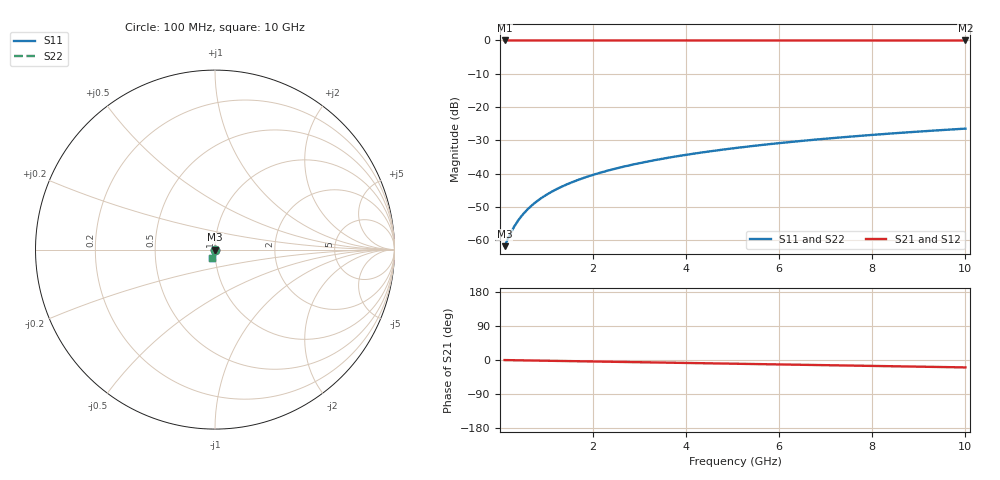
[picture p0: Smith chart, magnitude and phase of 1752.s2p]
# Hz S RI R 50.00
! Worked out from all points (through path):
!   100 points, 100 MHz to 10 GHz, reference 50 ohm
!   highest |S21| = -0.01 dB at 100 MHz (marker M1); lowest = 0.0 dB at 10 GHz (marker M2)
!   group delay of S21, straight-line fit = 5.43 ps
!   lowest |S11| = -61.8 dB at 100 MHz (marker M3), VSWR 1.00, Z = 50.1 - j0.048 ohm
!   |S11| at or under -10 dB: start of sweep to end of sweep
!   |S22| runs from -61.8 to -26.5 dB; largest |S21 - S12| = 0
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1e8  0.000659 -0.00048  0.9993 -0.00338  0.9993 -0.00338  0.000659 -0.00048
2e8  0.000657 -0.000959  0.9993 -0.00677  0.9993 -0.00677  0.000657 -0.000959
3e8  0.00065 -0.00144  0.9993 -0.0102  0.9993 -0.0102  0.00065 -0.00144
4e8  0.00064 -0.00192  0.9992 -0.0135  0.9992 -0.0135  0.00064 -0.00192
5e8  0.000626 -0.0024  0.9992 -0.0169  0.9992 -0.0169  0.000626 -0.0024
6e8  0.000608 -0.00288  0.9991 -0.0203  0.9991 -0.0203  0.000608 -0.00288
7e8  0.000587 -0.00336  0.999 -0.0237  0.999 -0.0237  0.000587 -0.00336
9e8  0.000535 -0.00432  0.9988 -0.0305  0.9988 -0.0305  0.000535 -0.00432
1e9  0.000504 -0.0048  0.9987 -0.0338  0.9987 -0.0338  0.000504 -0.0048
1.2e9  0.000431 -0.00576  0.9984 -0.0406  0.9984 -0.0406  0.000431 -0.00576
1.5e9  0.000298 -0.00719  0.998 -0.0508  0.998 -0.0508  0.000298 -0.00719
1.8e9  0.000135 -0.00863  0.9974 -0.0609  0.9974 -0.0609  0.000135 -0.00863
2.1e9  -5.71e-05 -0.0101  0.9967 -0.0711  0.9967 -0.0711  -5.71e-05 -0.0101
2.5e9  -0.000359 -0.012  0.9956 -0.0846  0.9956 -0.0846  -0.000359 -0.012
2.9e9  -0.000714 -0.0139  0.9943 -0.0981  0.9943 -0.0981  -0.000714 -0.0139
3.4e9  -0.00123 -0.0162  0.9925 -0.115  0.9925 -0.115  -0.00123 -0.0162
4.2e9  -0.00223 -0.02  0.9889 -0.142  0.9889 -0.142  -0.00223 -0.02
5.1e9  -0.00359 -0.0242  0.9839 -0.1722  0.9839 -0.1722  -0.00359 -0.0242
5.9e9  -0.00502 -0.0278  0.9787 -0.199  0.9787 -0.199  -0.00502 -0.0278
6.7e9  -0.00664 -0.0313  0.9728 -0.2257  0.9728 -0.2257  -0.00664 -0.0313
8.4e9  -0.0107 -0.0386  0.9576 -0.2819  0.9576 -0.2819  -0.0107 -0.0386
1e10  -0.0153 -0.0449  0.9403 -0.3341  0.9403 -0.3341  -0.0153 -0.0449
